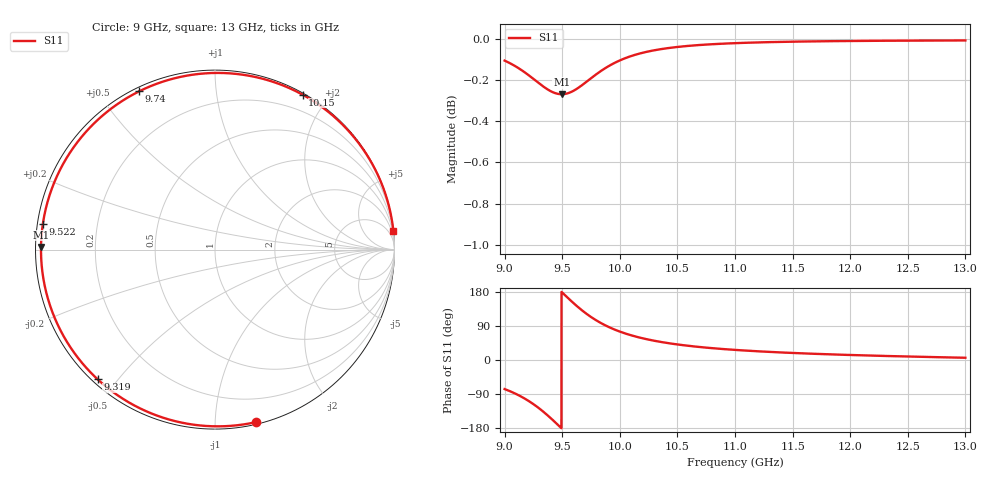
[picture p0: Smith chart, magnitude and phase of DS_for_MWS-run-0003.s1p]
! TOUCHSTONE file generated by CST DESIGN STUDIO
! Date and time: Tue Feb  4 18:02:01 2025
! Project name: C:\Work\MatlabApps\UnitCellOptimizationMatlab\CST\unitcell.cst
! Tree item: Tasks\Sweep1\SPara1\S-Parameters
! Header version: 2024
! Port assignment regex: !\s*Touchstone port\s*([0-9]+)\s*=\s*(CST MWS port|CST DES external port|CST DES block port)\s*(.+)\s* \(\"(.*)\"\)(\s*mode\s*([0-9]+))?.*
! Touchstone port assignment:
! Touchstone port 1 = CST DES external port 1 ("")
# GHz S MA R 50
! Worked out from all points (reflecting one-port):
!   4001 points, 9 GHz to 13 GHz, reference 50 ohm
!   lowest |S11| = -0.3 dB at 9.496 GHz (marker M1), VSWR 64.76, Z = 0.772 + j0.362 ohm
!   phase of S11 starts at -77 deg and turns -277 deg over the sweep
!   S11 on the Smith chart (normalised r, x): 9 GHz: 0.02, -1.26; 9.319 GHz: 0.02, -0.44; 9.522 GHz: 0.02, +0.07; 9.74 GHz: 0.02, +0.63; 10.15 GHz: 0.02, +1.71; 13 GHz: 0, +19
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9  0.988 -76.7
9.083  0.9853 -87.3
9.183  0.9812 -103.3
9.254  0.9778 -117.3
9.319  0.9746 -132.2
9.366  0.9725 -144.2
9.416  0.9708 -157.8
9.457  0.9699 -169.5
9.496  0.9696 179.2
9.5  0.9696 178.0
9.522  0.9697 171.6
9.576  0.9708 156.2
9.636  0.9729 140.0
9.687  0.9752 127.4
9.74  0.9778 115.6
9.793  0.9803 105.1
9.852  0.983 94.9
9.925  0.9857 84.2
10  0.9881 75.0
10.155  0.9916 60.5
10.312  0.9939 50.1
10.5  0.9956 41.0
10.722  0.9968 33.4
11  0.9977 26.6
11.5  0.9985 18.6
12  0.9989 13.2
12.5  0.9991 9.2
13  0.9992 5.9
